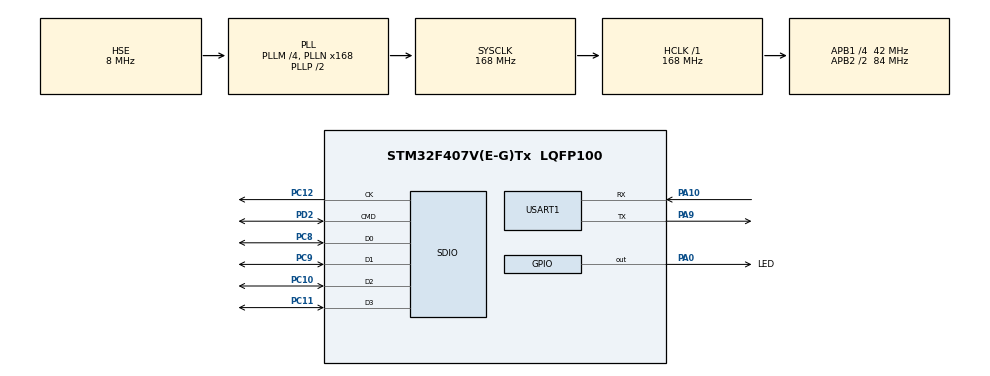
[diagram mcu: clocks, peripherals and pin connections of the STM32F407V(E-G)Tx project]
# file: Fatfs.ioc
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Dma.Request0=SDIO_RX
Dma.Request1=SDIO_TX
Dma.Request2=USART1_RX
Dma.SDIO_RX.0.Direction=DMA_PERIPH_TO_MEMORY
Dma.SDIO_RX.0.FIFOMode=DMA_FIFOMODE_ENABLE
Dma.SDIO_RX.0.FIFOThreshold=DMA_FIFO_THRESHOLD_FULL
Dma.SDIO_RX.0.Instance=DMA2_Stream3
Dma.SDIO_RX.0.MemBurst=DMA_MBURST_INC4
Dma.SDIO_RX.0.MemDataAlignment=DMA_MDATAALIGN_WORD
Dma.SDIO_RX.0.MemInc=DMA_MINC_ENABLE
Dma.SDIO_RX.0.Mode=DMA_PFCTRL
Dma.SDIO_RX.0.PeriphBurst=DMA_PBURST_INC4
Dma.SDIO_RX.0.PeriphDataAlignment=DMA_PDATAALIGN_WORD
Dma.SDIO_RX.0.PeriphInc=DMA_PINC_DISABLE
Dma.SDIO_RX.0.Priority=DMA_PRIORITY_LOW
Dma.SDIO_TX.1.Direction=DMA_MEMORY_TO_PERIPH
Dma.SDIO_TX.1.FIFOMode=DMA_FIFOMODE_ENABLE
Dma.SDIO_TX.1.FIFOThreshold=DMA_FIFO_THRESHOLD_FULL
Dma.SDIO_TX.1.Instance=DMA2_Stream6
Dma.SDIO_TX.1.MemBurst=DMA_MBURST_INC4
Dma.SDIO_TX.1.MemDataAlignment=DMA_MDATAALIGN_WORD
Dma.SDIO_TX.1.MemInc=DMA_MINC_ENABLE
Dma.SDIO_TX.1.Mode=DMA_PFCTRL
Dma.SDIO_TX.1.PeriphBurst=DMA_PBURST_INC4
Dma.SDIO_TX.1.PeriphDataAlignment=DMA_PDATAALIGN_WORD
Dma.SDIO_TX.1.PeriphInc=DMA_PINC_DISABLE
Dma.SDIO_TX.1.Priority=DMA_PRIORITY_LOW
Dma.USART1_RX.2.Direction=DMA_PERIPH_TO_MEMORY
Dma.USART1_RX.2.FIFOMode=DMA_FIFOMODE_DISABLE
Dma.USART1_RX.2.Instance=DMA2_Stream2
Dma.USART1_RX.2.MemDataAlignment=DMA_MDATAALIGN_BYTE
Dma.USART1_RX.2.MemInc=DMA_MINC_ENABLE
Dma.USART1_RX.2.Mode=DMA_NORMAL
Dma.USART1_RX.2.PeriphDataAlignment=DMA_PDATAALIGN_BYTE
Dma.USART1_RX.2.PeriphInc=DMA_PINC_DISABLE
Dma.USART1_RX.2.Priority=DMA_PRIORITY_LOW
FATFS._CODE_PAGE=437
FATFS._FS_EXFAT=1
FATFS._FS_LOCK=5
FATFS._USE_LFN=2
FREERTOS.Tasks01=defaultTask,0,2048,StartDefaultTask,Default,NULL,Dynamic,NULL,NULL
Mcu.Family=STM32F4
Mcu.Name=STM32F407V(E-G)Tx
Mcu.Package=LQFP100
NVIC.DMA2_Stream2_IRQn=true\:8\:0\:true\:false\:true\:true\:false\:true
NVIC.DMA2_Stream3_IRQn=true\:6\:0\:true\:false\:true\:true\:false\:true
NVIC.DMA2_Stream6_IRQn=true\:6\:0\:true\:false\:true\:true\:false\:true
NVIC.PriorityGroup=NVIC_PRIORITYGROUP_4
NVIC.SDIO_IRQn=true\:6\:0\:true\:false\:true\:true\:true\:true
NVIC.TIM1_UP_TIM10_IRQn=true\:0\:0\:false\:false\:true\:false\:false\:true
NVIC.TimeBase=TIM1_UP_TIM10_IRQn
NVIC.TimeBaseIP=TIM1
NVIC.USART1_IRQn=true\:8\:0\:true\:false\:true\:true\:true\:true
PA0-WKUP.GPIO_Label=LED
PA0-WKUP.Signal=GPIO_Output
PA10.Mode=Asynchronous
PA10.Signal=USART1_RX
PA13.Mode=Serial_Wire
PA13.Signal=SYS_JTMS-SWDIO
PA14.Mode=Serial_Wire
PA14.Signal=SYS_JTCK-SWCLK
PA9.Mode=Asynchronous
PA9.Signal=USART1_TX
PC10.Mode=SD_4_bits_Wide_bus
PC10.Signal=SDIO_D2
PC11.Mode=SD_4_bits_Wide_bus
PC11.Signal=SDIO_D3
PC12.Mode=SD_4_bits_Wide_bus
PC12.Signal=SDIO_CK
PC8.Mode=SD_4_bits_Wide_bus
PC8.Signal=SDIO_D0
PC9.Mode=SD_4_bits_Wide_bus
PC9.Signal=SDIO_D1
PD2.Mode=SD_4_bits_Wide_bus
PD2.Signal=SDIO_CMD
PH0-OSC_IN.Mode=HSE-External-Oscillator
PH0-OSC_IN.Signal=RCC_OSC_IN
PH1-OSC_OUT.Mode=HSE-External-Oscillator
PH1-OSC_OUT.Signal=RCC_OSC_OUT
ProjectManager.HeapSize=0x1000
ProjectManager.StackSize=0x1000
ProjectManager.TargetToolchain=STM32CubeIDE
RCC.48MHZClocksFreq_Value=48000000
RCC.AHBFreq_Value=168000000
RCC.APB1CLKDivider=RCC_HCLK_DIV4
RCC.APB1Freq_Value=42000000
RCC.APB1TimFreq_Value=84000000
RCC.APB2CLKDivider=RCC_HCLK_DIV2
RCC.APB2Freq_Value=84000000
RCC.APB2TimFreq_Value=168000000
RCC.CortexFreq_Value=168000000
RCC.EnbaleCSS=true
RCC.HCLKFreq_Value=168000000
RCC.HSE_VALUE=8000000
RCC.HSI_VALUE=16000000
RCC.LSE_VALUE=32768
RCC.PLLM=4
RCC.PLLN=168
RCC.PLLQ=7
RCC.PLLSourceVirtual=RCC_PLLSOURCE_HSE
RCC.SYSCLKFreq_VALUE=168000000
RCC.SYSCLKSource=RCC_SYSCLKSOURCE_PLLCLK
RCC.VCOOutputFreq_Value=336000000
USART1.VirtualMode=VM_ASYNC
VP_CRC_VS_CRC.Mode=CRC_Activate
VP_FATFS_VS_SDIO.Mode=SDIO
VP_FREERTOS_VS_CMSIS_V1.Mode=CMSIS_V1
VP_SYS_VS_tim1.Mode=TIM1
board=custom

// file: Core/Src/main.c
/* USER CODE BEGIN Header */
/**
  ******************************************************************************
  * @file           : main.c
  * @brief          : Main program body
  ******************************************************************************
  * @attention
  *
  * <h2><center>&copy; Copyright (c) 2020 STMicroelectronics.
  * All rights reserved.</center></h2>
  *
  * This software component is licensed by ST under BSD 3-Clause license,
  * the "License"; You may not use this file except in compliance with the
  * License. You may obtain a copy of the License at:
  *                        opensource.org/licenses/BSD-3-Clause
  *
  ******************************************************************************
  */
/* USER CODE END Header */
#include "main.h"
#include "cmsis_os.h"
#include "crc.h"
#include "dma.h"
#include "fatfs.h"
#include "sdio.h"
#include "usart.h"
#include "gpio.h"

void SystemClock_Config(void);
void MX_FREERTOS_Init(void);

int main(void)
{

  /* MCU Configuration--------------------------------------------------------*/

  /* Reset of all peripherals, Initializes the Flash interface and the Systick. */
  HAL_Init();

  /* Configure the system clock */
  SystemClock_Config();

  /* Initialize all configured peripherals */
  MX_GPIO_Init();
  MX_DMA_Init();
  MX_USART1_UART_Init();
  MX_SDIO_SD_Init();
  MX_FATFS_Init();
  MX_CRC_Init();

  /* Call init function for freertos objects (in freertos.c) */
  MX_FREERTOS_Init();
  /* Start scheduler */
  osKernelStart();

  /* We should never get here as control is now taken by the scheduler */
  /* Infinite loop */
  while (1)
  {

  }
}

void SystemClock_Config(void)
{
  RCC_OscInitTypeDef RCC_OscInitStruct = {0};
  RCC_ClkInitTypeDef RCC_ClkInitStruct = {0};

  /** Configure the main internal regulator output voltage
  */
  __HAL_RCC_PWR_CLK_ENABLE();
  __HAL_PWR_VOLTAGESCALING_CONFIG(PWR_REGULATOR_VOLTAGE_SCALE1);
  /** Initializes the RCC Oscillators according to the specified parameters
  * in the RCC_OscInitTypeDef structure.
  */
  RCC_OscInitStruct.OscillatorType = RCC_OSCILLATORTYPE_HSE;
  RCC_OscInitStruct.HSEState = RCC_HSE_ON;
  RCC_OscInitStruct.PLL.PLLState = RCC_PLL_ON;
  RCC_OscInitStruct.PLL.PLLSource = RCC_PLLSOURCE_HSE;
  RCC_OscInitStruct.PLL.PLLM = 4;
  RCC_OscInitStruct.PLL.PLLN = 168;
  RCC_OscInitStruct.PLL.PLLP = RCC_PLLP_DIV2;
  RCC_OscInitStruct.PLL.PLLQ = 7;
  if (HAL_RCC_OscConfig(&RCC_OscInitStruct) != HAL_OK)
  {
    Error_Handler();
  }
  /** Initializes the CPU, AHB and APB buses clocks
  */
  RCC_ClkInitStruct.ClockType = RCC_CLOCKTYPE_HCLK|RCC_CLOCKTYPE_SYSCLK
                              |RCC_CLOCKTYPE_PCLK1|RCC_CLOCKTYPE_PCLK2;
  RCC_ClkInitStruct.SYSCLKSource = RCC_SYSCLKSOURCE_PLLCLK;
  RCC_ClkInitStruct.AHBCLKDivider = RCC_SYSCLK_DIV1;
  RCC_ClkInitStruct.APB1CLKDivider = RCC_HCLK_DIV4;
  RCC_ClkInitStruct.APB2CLKDivider = RCC_HCLK_DIV2;

  if (HAL_RCC_ClockConfig(&RCC_ClkInitStruct, FLASH_LATENCY_5) != HAL_OK)
  {
    Error_Handler();
  }
  /** Enables the Clock Security System
  */
  HAL_RCC_EnableCSS();
}

 /**
  * @brief  Period elapsed callback in non blocking mode
  * @note   This function is called  when TIM1 interrupt took place, inside
  * HAL_TIM_IRQHandler(). It makes a direct call to HAL_IncTick() to increment
  * a global variable "uwTick" used as application time base.
  * @param  htim : TIM handle
  * @retval None
  */
void HAL_TIM_PeriodElapsedCallback(TIM_HandleTypeDef *htim)
{
  if (htim->Instance == TIM1) {
    HAL_IncTick();
  }
}

void Error_Handler(void)
{
  __disable_irq();
  while (1)
  {
  }
}

/************************ (C) COPYRIGHT STMicroelectronics *****END OF FILE****/

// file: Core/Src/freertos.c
/* USER CODE BEGIN Header */
/**
  ******************************************************************************
  * File Name          : freertos.c
  * Description        : Code for freertos applications
  ******************************************************************************
  * @attention
  *
  * <h2><center>&copy; Copyright (c) 2020 STMicroelectronics.
  * All rights reserved.</center></h2>
  *
  * This software component is licensed by ST under Ultimate Liberty license
  * SLA0044, the "License"; You may not use this file except in compliance with
  * the License. You may obtain a copy of the License at:
  *                             www.st.com/SLA0044
  *
  ******************************************************************************
  */
/* USER CODE END Header */

#include "FreeRTOS.h"
#include "task.h"
#include "main.h"
#include "cmsis_os.h"

/* USER CODE BEGIN Includes */
#include "usart.h"
#include "sdio.h"
#include "ffex.h"
#include "crc.h"
/* USER CODE END Includes */

osThreadId defaultTaskHandle;

void StartDefaultTask(void const * argument);

void MX_FREERTOS_Init(void); /* (MISRA C 2004 rule 8.1) */

/* GetIdleTaskMemory prototype (linked to static allocation support) */
void vApplicationGetIdleTaskMemory( StaticTask_t **ppxIdleTaskTCBBuffer, StackType_t **ppxIdleTaskStackBuffer, uint32_t *pulIdleTaskStackSize );

/* USER CODE BEGIN GET_IDLE_TASK_MEMORY */
static StaticTask_t xIdleTaskTCBBuffer;
static StackType_t xIdleStack[configMINIMAL_STACK_SIZE];

void vApplicationGetIdleTaskMemory( StaticTask_t **ppxIdleTaskTCBBuffer, StackType_t **ppxIdleTaskStackBuffer, uint32_t *pulIdleTaskStackSize )
{
  *ppxIdleTaskTCBBuffer = &xIdleTaskTCBBuffer;
  *ppxIdleTaskStackBuffer = &xIdleStack[0];
  *pulIdleTaskStackSize = configMINIMAL_STACK_SIZE;
  /* place for user code */
}
/* USER CODE END GET_IDLE_TASK_MEMORY */

void MX_FREERTOS_Init(void) {

  /* Create the thread(s) */
  /* definition and creation of defaultTask */
  osThreadDef(defaultTask, StartDefaultTask, osPriorityNormal, 0, 2048);
  defaultTaskHandle = osThreadCreate(osThread(defaultTask), NULL);

}

void StartDefaultTask(void const * argument)
{
  /* USER CODE BEGIN StartDefaultTask */
  HAL_UART_Receive_DMA(&huart1, RxBuf, sizeof(RxBuf));
  uint8_t str[] = "Hello World!";
  uint8_t file[32] = {0};
  UINT wbyte = 0;
  BYTE work[_MAX_SS] = {0};
  FRESULT res = 0;
  strcat(strcat((char *)file, (char *)SDPath), "1.txt");
  /* Infinite loop */
  for(;;)
  {
    switch(flag)
    {
      case MOUNT:
      {
        flag = IDLE;
        res = f_mount(&SDFatFS, SDPath, 1); printf("mount:%d\r\n", res);
        res = f_mount(NULL, SDPath, 1); printf("unmount:%d\r\n", res);
        break;
      }
      case WRITE:
      {
        flag = IDLE;
        res = f_mount(&SDFatFS, SDPath, 1); printf("mount:%d\r\n", res);
        res = f_open(&SDFile, (char *)file, FA_OPEN_ALWAYS | FA_WRITE); printf("open:%d\r\n", res);
        res = f_write(&SDFile, str, sizeof(str), &wbyte); printf("write:%d\r\n", res);
        res = f_close(&SDFile); printf("close:%d\r\n", res);
        res = f_mount(NULL, SDPath, 1); printf("unmount:%d\r\n", res);
        printf("[%s]\r\n", file);
        break;
      }
      case PRINTF:
      {
        flag = IDLE;
        res = f_mount(&SDFatFS, SDPath, 1); printf("mount:%d\r\n", res);
        res = f_open(&SDFile, (char *)file, FA_OPEN_ALWAYS | FA_WRITE); printf("open:%d\r\n", res);
        res = f_printf(&SDFile, "20%d:%d:%d.%s", 20, 11, 23, "Monday"); printf("printf:%d\r\n", res);
        res = f_close(&SDFile); printf("close:%d\r\n", res);
        res = f_mount(NULL, SDPath, 1); printf("unmount:%d\r\n", res);
        break;
      }
      case READ:
      {
        flag = IDLE;

        break;
      }
      case DELETE:
      {
        flag = IDLE;
        printf("[%s]\r\n", file);
        res = f_mount(&SDFatFS, SDPath, 1); printf("mount:%d\r\n", res);
        res = f_unlink((char *)file); printf("delete:%d\r\n", res);
        res = f_mount(NULL, SDPath, 1); printf("unmount:%d\r\n", res);
        break;
      }
      case REMOVEDIR:
      {
        flag = IDLE;
        res = f_mount(&SDFatFS, SDPath, 1); printf("mount:%d\r\n", res);
        DeleteEarlyLog();
        res = f_mount(NULL, SDPath, 1); printf("unmount:%d\r\n", res);
        break;
      }
      case FORMAT:
      {
        flag = IDLE;
        res = f_mount(&SDFatFS, SDPath, 1); printf("mount:%d\r\n", res);
        res = f_mkfs(SDPath, FM_EXFAT, 0, work, sizeof(work)); printf("mkfs:%d\r\n", res);
        res = f_mount(NULL, SDPath, 1); printf("unmount:%d\r\n", res);
        break;
      }
      case DISKFREE:
      {
        flag = IDLE;
        res = f_mount(&SDFatFS, SDPath, 1); printf("mount:%d\r\n", res);
        CalStorage();
        res = f_mount(NULL, SDPath, 1); printf("unmount:%d\r\n", res);
        break;
      }
      case LISTDISK:
      {
        flag = IDLE;
        res = f_mount(&SDFatFS, SDPath, 1); printf("mount:%d\r\n", res);
        res = f_list(SDPath); printf("list:%d\r\n", res);
        res = f_mount(NULL, SDPath, 1); printf("unmount:%d\r\n", res);
        break;
      }
      default:
        break;
    }
    HAL_GPIO_TogglePin(LED_GPIO_Port, LED_Pin);
    osDelay(125);
  }
  /* USER CODE END StartDefaultTask */
}

/* USER CODE BEGIN Application */
void DeleteEarlyLog(void)
{
  FILINFO FileInfo;
  char DeleteDir[32] = {0};
  uint8_t y, m, d;
  for(y=20; y<99; y++)
  {
    for(m=8; m<13; m++)
    {
      for(d=15; d<32; d++)
      {
        memset(DeleteDir, 0, sizeof(DeleteDir));
        sprintf(DeleteDir, FORMATOFLOGDIR, SDPath, y, m, d);
        if(FR_OK == f_stat(DeleteDir, &FileInfo))
        {
          printf("DELETEDIR:%s\t", DeleteDir);
          printf("REMOVEDIR RESULT:%d\r\n", f_deldir(DeleteDir));
          return;
        }
      }
      d = 1;
    }
    m = 1;
  }
}

void CalStorage(void)
{
  DWORD clst = 0;
  FATFS * pFs = &SDFatFS;
  if(FR_OK == f_getfree(SDPath, &clst, &pFs))
  {
    uint32_t TotalSizeKB = (pFs->n_fatent - 2) * pFs->csize / 2;
    uint32_t FreeSizeKB = clst * pFs->csize / 2;
    uint32_t UsedSizeKB = TotalSizeKB - FreeSizeKB;
    double FreePercent = (double)FreeSizeKB / TotalSizeKB * 100;
    double UsedPercent = (double)UsedSizeKB / TotalSizeKB * 100;
    printf("\r\nSDCard Size:%.3lfGB, Used:%.3lfGB, Free:%.3lfGB\r\n", TotalSizeKB*1.0/1024/1024, UsedSizeKB*1.0/1024/1024, FreeSizeKB*1.0/1024/1024);
    printf("\r\nSDCard Used:%.3lf%%, Free:%.3lf%%\r\n", UsedPercent, FreePercent);
  }
}
/* USER CODE END Application */

/************************ (C) COPYRIGHT STMicroelectronics *****END OF FILE****/
